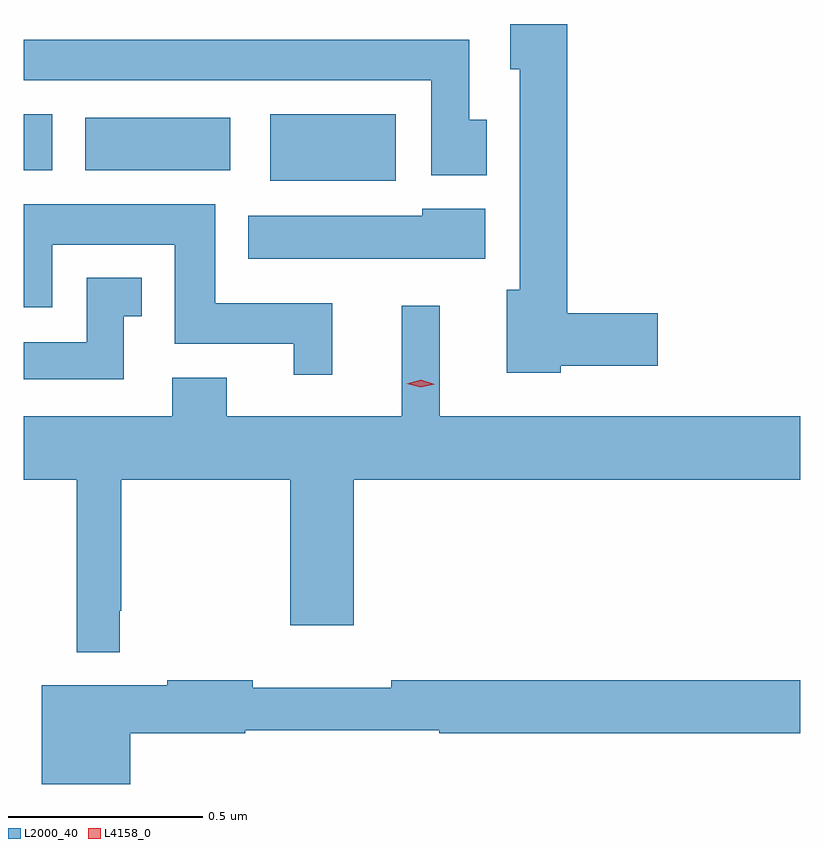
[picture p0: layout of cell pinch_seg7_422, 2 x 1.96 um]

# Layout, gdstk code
import gdstk
lib = gdstk.Library(unit=1e-6, precision=1e-09)
def R(c, l, rs):  # rectangles x0, y0, x1, y1
    for r in rs: c.add(gdstk.rectangle(r[:2], r[2:], *l))
def P(c, l, *ps):  # polygons
    for p in ps: c.add(gdstk.Polygon(p, *l))
L2000_40 = (2000, 40)
L4158_0 = (4158, 0)

pinch_seg7_422 = lib.new_cell('pinch_seg7_422')
R(pinch_seg7_422, L2000_40, [(584.537,1021.367,584.86,1021.537), (583.902,1021.394,583.975,1021.537), (584.06,1021.394,584.434,1021.528)])
P(pinch_seg7_422, L2000_40, [(585.285,1020.89),(585.535,1020.89),(585.535,1021.025),(585.302,1021.025),(585.302,1021.77),(585.155,1021.77),(585.155,1021.653),(585.179,1021.653),(585.179,1021.086),(585.146,1021.086),(585.146,1020.872),(585.285,1020.872)],
  [(585.094,1021.524),(585.049,1021.524),(585.049,1021.729),(583.902,1021.729),(583.902,1021.625),(584.952,1021.625),(584.952,1021.38),(585.094,1021.38)],
  [(584.696,1021.051),(584.395,1021.051),(584.395,1021.306),(583.902,1021.306),(583.902,1021.041),(583.975,1021.041),(583.975,1021.202),(584.291,1021.202),(584.291,1020.947),(584.597,1020.947),(584.597,1020.867),(584.696,1020.867)],
  [(585.091,1021.294),(584.928,1021.294),(584.928,1021.276),(584.48,1021.276),(584.48,1021.166),(585.091,1021.166)],
  [(584.16,1021.017),(584.206,1021.017),(584.206,1021.117),(584.064,1021.117),(584.064,1020.951),(583.902,1020.951),(583.902,1020.855),(584.16,1020.855)],
  [(584.15,1020.259),(584.153,1020.259),(584.153,1020.596),(584.588,1020.596),(584.588,1020.222),(584.752,1020.222),(584.752,1020.596),(585.902,1020.596),(585.902,1020.76),(584.974,1020.76),(584.974,1021.045),(584.876,1021.045),(584.876,1020.76),(584.425,1020.76),(584.425,1020.859),(584.285,1020.859),(584.285,1020.76),(583.902,1020.76),(583.902,1020.596),(584.039,1020.596),(584.039,1020.152),(584.15,1020.152)],
  [(584.176,1019.944),(584.472,1019.944),(584.472,1019.952),(584.972,1019.952),(584.972,1019.944),(585.902,1019.944),(585.902,1020.08),(584.848,1020.08),(584.848,1020.061),(584.492,1020.061),(584.492,1020.08),(584.272,1020.08),(584.272,1020.067),(583.949,1020.067),(583.949,1019.813),(584.176,1019.813)])
P(pinch_seg7_422, L4158_0, [(584.925,1020.834),(584.889,1020.844),(584.889,1020.844),(584.889,1020.844),(584.925,1020.854),(584.961,1020.843),(584.961,1020.843),(584.961,1020.843)])

lib.write_gds('pinch_seg7_422.gds')
